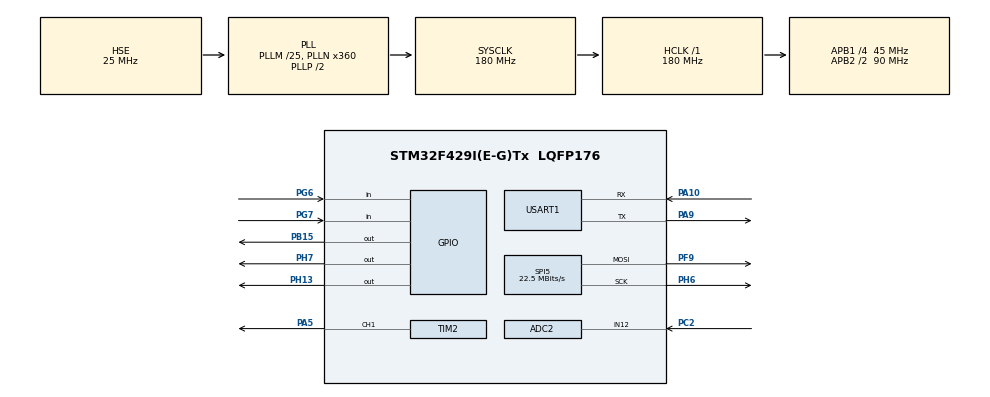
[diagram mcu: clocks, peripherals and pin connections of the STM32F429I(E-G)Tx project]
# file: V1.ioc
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ADC2.Channel-0\#ChannelRegularConversion=ADC_CHANNEL_12
ADC2.NbrOfConversionFlag=1
ADC2.Rank-0\#ChannelRegularConversion=1
ADC2.SamplingTime-0\#ChannelRegularConversion=ADC_SAMPLETIME_3CYCLES
Mcu.Family=STM32F4
Mcu.Name=STM32F429I(E-G)Tx
Mcu.Package=LQFP176
NVIC.PriorityGroup=NVIC_PRIORITYGROUP_4
NVIC.TIM2_IRQn=true\:0\:0\:false\:false\:true\:true\:true
NVIC.TIM3_IRQn=true\:0\:0\:false\:false\:true\:true\:true
NVIC.TIM4_IRQn=true\:0\:0\:false\:false\:true\:true\:true
NVIC.TIM6_DAC_IRQn=true\:0\:0\:false\:false\:true\:true\:true
NVIC.TIM7_IRQn=true\:0\:0\:false\:false\:true\:true\:true
NVIC.USART1_IRQn=true\:1\:0\:true\:false\:true\:true\:true
PA10.Mode=Asynchronous
PA10.Signal=USART1_RX
PA13.Mode=Serial_Wire
PA13.Signal=SYS_JTMS-SWDIO
PA14.Mode=Serial_Wire
PA14.Signal=SYS_JTCK-SWCLK
PA5.Signal=S_TIM2_CH1_ETR
PA9.Mode=Asynchronous
PA9.Signal=USART1_TX
PB15.Signal=GPIO_Output
PC14/OSC32_IN.Mode=LSE-External-Oscillator
PC14/OSC32_IN.Signal=RCC_OSC32_IN
PC15/OSC32_OUT.Mode=LSE-External-Oscillator
PC15/OSC32_OUT.Signal=RCC_OSC32_OUT
PC2.Signal=ADCx_IN12
PF9.GPIO_PuPd=GPIO_PULLUP
PF9.Mode=TX_Only_Simplex_Unidirect_Master
PF9.Signal=SPI5_MOSI
PG6.Signal=GPIO_Input
PG7.Signal=GPIO_Input
PH0/OSC_IN.Mode=HSE-External-Oscillator
PH0/OSC_IN.Signal=RCC_OSC_IN
PH1/OSC_OUT.Mode=HSE-External-Oscillator
PH1/OSC_OUT.Signal=RCC_OSC_OUT
PH13.GPIO_PuPd=GPIO_PULLUP
PH13.GPIO_Speed=GPIO_SPEED_FREQ_VERY_HIGH
PH13.Signal=GPIO_Output
PH6.GPIO_PuPd=GPIO_PULLUP
PH6.Mode=TX_Only_Simplex_Unidirect_Master
PH6.Signal=SPI5_SCK
PH7.GPIO_PuPd=GPIO_PULLUP
PH7.GPIO_Speed=GPIO_SPEED_FREQ_VERY_HIGH
PH7.PinState=GPIO_PIN_SET
PH7.Signal=GPIO_Output
ProjectManager.HeapSize=0x200
ProjectManager.StackSize=0x400
ProjectManager.TargetToolchain=MDK-ARM V5.27
RCC.48MHZClocksFreq_Value=90000000
RCC.AHBFreq_Value=180000000
RCC.APB1CLKDivider=RCC_HCLK_DIV4
RCC.APB1Freq_Value=45000000
RCC.APB1TimFreq_Value=90000000
RCC.APB2CLKDivider=RCC_HCLK_DIV2
RCC.APB2Freq_Value=90000000
RCC.APB2TimFreq_Value=180000000
RCC.CortexFreq_Value=180000000
RCC.HCLKFreq_Value=180000000
RCC.HSE_VALUE=25000000
RCC.HSI_VALUE=16000000
RCC.PLLM=25
RCC.PLLN=360
RCC.PLLSourceVirtual=RCC_PLLSOURCE_HSE
RCC.SYSCLKFreq_VALUE=180000000
RCC.SYSCLKSource=RCC_SYSCLKSOURCE_PLLCLK
RCC.VCOOutputFreq_Value=360000000
SH.ADCx_IN12.0=ADC2_IN12,IN12
SH.S_TIM2_CH1_ETR.0=TIM2_CH1,PWM Generation1 CH1
SPI5.BaudRatePrescaler=SPI_BAUDRATEPRESCALER_4
SPI5.CalculateBaudRate=22.5 MBits/s
SPI5.Direction=SPI_DIRECTION_2LINES
SPI5.Mode=SPI_MODE_MASTER
SPI5.VirtualType=VM_MASTER
TIM2.Channel-PWM\ Generation1\ CH1=TIM_CHANNEL_1
TIM2.Period=4999
TIM2.Prescaler=9000-1
TIM2.Pulse-PWM\ Generation1\ CH1=2499
TIM3.Period=29
TIM3.Prescaler=8999
TIM4.Period=9
TIM4.Prescaler=8999
TIM6.AutoReloadPreload=TIM_AUTORELOAD_PRELOAD_DISABLE
TIM6.Period=59
TIM6.Prescaler=8999
TIM7.Period=29
TIM7.Prescaler=8999
USART1.VirtualMode=VM_ASYNC
VP_TIM2_VS_ClockSourceINT.Mode=Internal
VP_TIM3_VS_ClockSourceINT.Mode=Internal
VP_TIM4_VS_ClockSourceINT.Mode=Internal
VP_TIM6_VS_ClockSourceINT.Mode=Enable_Timer
VP_TIM7_VS_ClockSourceINT.Mode=Enable_Timer
board=custom

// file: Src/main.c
/* USER CODE BEGIN Header */
/**
  ******************************************************************************
  * @file           : main.c
  * @brief          : Main program body
  ******************************************************************************
  * @attention
  *
  * <h2><center>&copy; Copyright (c) 2023 STMicroelectronics.
  * All rights reserved.</center></h2>
  *
  * This software component is licensed by ST under BSD 3-Clause license,
  * the "License"; You may not use this file except in compliance with the
  * License. You may obtain a copy of the License at:
  *                        opensource.org/licenses/BSD-3-Clause
  *
  ******************************************************************************
  */
/* USER CODE END Header */

#include "main.h"
#include "adc.h"
#include "spi.h"
#include "tim.h"
#include "usart.h"
#include "gpio.h"

/* USER CODE BEGIN Includes */
#include "lcd_init.h"
#include "lcd.h"
#include "pic.h"
#include "delay.h"
#include "math.h"
#include "Key.h"
#include <stdio.h>
/* USER CODE END Includes */

/* USER CODE BEGIN PTD */
uint16_t showmax;
uint16_t showmin=4095;
uint16_t data1[240];
uint16_t data2[240];
uint8_t high=200;
uint8_t low=40;
float_t ytran=1;
float_t xtran=1.0;
extern uint16_t dur;
char *strx,*extstrx,*Readystrx;
char RxBuffer[200],Rxcounter;
extern char RxBuffer[200],Rxcounter;
char *strstr(const char*,const char*);
uint8_t  Res;
uint8_t enable=0;
uint8_t signal=0;
uint8_t alarm=0;
uint8_t frsign=0;
/* USER CODE END PTD */

/* USER CODE BEGIN PM */
void HAL_UART_RxCpltCallback(UART_HandleTypeDef *huart)
{
	UNUSED(huart);
	if(huart->Instance==USART1 )
	{
		RxBuffer[Rxcounter++]=Res;
		HAL_Delay(200);
		HAL_UART_Receive_IT(&huart1,(uint8_t *)&Res,1);
	}
}
void write(void)
{
	RxBuffer[Rxcounter++]=Res;
	return;
}
/* USER CODE END PM */

/* USER CODE BEGIN PV */
void Clear_Buffer(void)
{
	uint8_t i;
	for(i=0;i<Rxcounter ;i++)
		RxBuffer [i]=0;
	Rxcounter =0;
}
/* USER CODE END PV */

void SystemClock_Config(void);

int main(void)
{

  /* MCU Configuration--------------------------------------------------------*/

  /* Reset of all peripherals, Initializes the Flash interface and the Systick. */
  HAL_Init();

  /* Configure the system clock */
  SystemClock_Config();

  /* Initialize all configured peripherals */
  MX_GPIO_Init();
  MX_ADC2_Init();
  MX_SPI5_Init();
  MX_TIM6_Init();
  MX_TIM2_Init();
  MX_TIM7_Init();
  MX_TIM3_Init();
  MX_TIM4_Init();
  MX_USART1_UART_Init();
  /* USER CODE BEGIN 2 */

	delay_init(180);
	LCD_Init ();
	LCD_Fill (0,0,LCD_W,LCD_H,WHITE);
	HAL_TIM_Base_Start_IT(&htim3);
	HAL_TIM_Base_Start_IT(&htim4);
HAL_TIM_Base_Start_IT(&htim6);
HAL_TIM_Base_Start_IT(&htim7);
HAL_TIM_PWM_Start(&htim2,TIM_CHANNEL_1);

//HAL_UART_Receive_IT(&huart1,&Res,1);

		printf("start");
		HAL_Delay(500);

		printf("ATI\r\n");
		HAL_Delay(1000);
	//	strx=strstr((const char*)RxBuffer,(const char*)"Fibocom");
 /*	while(strx==NULL)
		{
			Clear_Buffer();
			printf("fail");
			HAL_Delay(1000);
			printf("ATI\r\n");
		  HAL_Delay(1000);
			strx=strstr((const char*)RxBuffer,(const char*)"Fibocom");
		}*/
		Clear_Buffer();
		printf("success");
		HAL_Delay(500);

		printf("AT+MIPCALL?\r\n");
		HAL_Delay(500);
		/*strx=strstr((const char*)RxBuffer,(const char*)"+MIPCALL: 1");
		while(strx==NULL)
		{
			Clear_Buffer();
			printf("NO IP");
			HAL_Delay(1000);
			printf("AT+MIPCALL=1\r\n");
			HAL_Delay(1000);
			strx=strstr((const char*)RxBuffer,(const char*)"+MIPCALL: ");
		}*/
		Clear_Buffer();
		printf("GET IP");
		HAL_Delay(500);

		printf("AT+TCDEVINFOSET=1,\"69KWHNFFUV\",\"test1\",\"qx+oUYsrSWLERY7GuzcI4A==\"\r\n");
		HAL_Delay(500);
		/*strx=strstr((const char*)RxBuffer,(const char*)"+TCDEVINFOSET: OK");
		while(strx==NULL)
		{
			Clear_Buffer();
			printf("fail");
			HAL_Delay(1000);
		printf("AT+TCDEVINFOSET=1,\"69KWHNFFUV\",\"test1\",\"qx+oUYsrSWLERY7GuzcI4A==\"\r\n");
			HAL_Delay(1000);
			strx=strstr((const char*)RxBuffer,(const char*)"+TCDEVINFOSET: OK");
		}*/
		Clear_Buffer();
		printf("success");
		HAL_Delay(500);

		printf("AT+TCMQTTCONN=1,20000,240,1,0\r\n");
		HAL_Delay(500);
		/*strx=strstr((const char*)RxBuffer,(const char*)"+TCMQTTCONN: OK");
		while(strx==NULL)
		{
			Clear_Buffer();
			printf("fail");
			HAL_Delay(1000);
			printf("AT+TCMQTTCONN=1,20000,240,1,1\r\n");
			HAL_Delay(1000);
			strx=strstr((const char*)RxBuffer,(const char*)"+TCMQTTCONN: OK");
		}*/
		Clear_Buffer();
		printf("success");
		HAL_Delay(500);

		printf("AT+TCMQTTSUB=\"$thing/down/property/69KWHNFFUV/test1\",1\r\n");
		HAL_Delay(500);
		/*strx=strstr((const char*)RxBuffer,(const char*)"+TCMQTTSUB: OK");
		while(strx==NULL)
		{
			Clear_Buffer();
			printf("fail");
			HAL_Delay(1000);
			printf("AT+TCMQTTSUB=\"$thing/down/property/69KWHNFFUV/test1\",1\r\n");
			HAL_Delay(1000);
			strx=strstr((const char*)RxBuffer,(const char*)"+TCMQTTSUB: OK");
		}*/
		Clear_Buffer();
		printf("success");
		enable=1;
		HAL_Delay(500);
		printf("AT+GTTS=1,\"开始心电检监测\",1\r\n");
		HAL_Delay(2000);
		printf("AT+GTTS=0\r\n");
		HAL_Delay(500);
	printf("AT+TCMQTTPUB=\"$thing/up/property/69KWHNFFUV/test1\",1,\"{\\\"method\\\":\\\"report\\\",\\\"clientToken\\\":\\\"123\\\",\\\"params\\\":{\\\"lac\\\":%d}}\"\r\n",31);
		HAL_Delay(500);
			printf("AT+TCMQTTPUB=\"$thing/up/property/69KWHNFFUV/test1\",1,\"{\\\"method\\\":\\\"report\\\",\\\"clientToken\\\":\\\"123\\\",\\\"params\\\":{\\\"cid\\\":%d}}\"\r\n",17);
		HAL_Delay(500);
		while(enable)
		{
			frsign =(int)(60/(dur*12*1e-3));
			printf("AT+TCMQTTPUB=\"$thing/up/property/69KWHNFFUV/test1\",1,\"{\\\"method\\\":\\\"report\\\",\\\"clientToken\\\":\\\"123\\\",\\\"params\\\":{\\\"span\\\":%d}}\"\r\n",(int)(60/(dur*12*1e-3)));
		HAL_Delay(500);
			printf("AT+TCMQTTPUB=\"$thing/up/property/69KWHNFFUV/test1\",1,\"{\\\"method\\\":\\\"report\\\",\\\"clientToken\\\":\\\"123\\\",\\\"params\\\":{\\\"ytran\\\":%f}}\"\r\n",ytran);
		HAL_Delay(500);
			printf("AT+TCMQTTPUB=\"$thing/up/property/69KWHNFFUV/test1\",1,\"{\\\"method\\\":\\\"report\\\",\\\"clientToken\\\":\\\"123\\\",\\\"params\\\":{\\\"xtran\\\":%f}}\"\r\n",xtran);
		HAL_Delay(500);
			if((frsign>120||frsign<50)&&alarm==0)
			{
				alarm++;
				printf("AT+GTTS=1,\"心率异常已发送您的位置\",1\r\n");
		HAL_Delay(3000);
		printf("AT+GTTS=0\r\n");
		HAL_Delay(500);
			}

		/*HAL_Delay(50000000);
			//}
			if(strx)
			{
				Clear_Buffer();
				printf("GET NUMBER");
				HAL_Delay(500);
			}
		while(strx==NULL)
		{
			Clear_Buffer();
			printf("fail");
			HAL_Delay(1000);
			printf("AT+TCMQTTPUB=\"$thing/up/property/69KWHNFFUV/test1\",1,\"{\\\"method\\\":\\\"report\\\",\\\"clientToken\\\":\\\"123\\\",\\\"params\\\":{\\\"span\\\":%d}}\"\r\n",(int)(60/(dur*12*1e-3)));
			HAL_Delay(1000);
			strx=strstr((const char*)RxBuffer,(const char*)"success");
		}*/
		Clear_Buffer();
		printf("success");
		HAL_Delay(500);
	}
  /* USER CODE END 2 */

  /* Infinite loop */
  while (1)
  {

  }
}

void SystemClock_Config(void)
{
  RCC_OscInitTypeDef RCC_OscInitStruct = {0};
  RCC_ClkInitTypeDef RCC_ClkInitStruct = {0};

  /** Configure the main internal regulator output voltage
  */
  __HAL_RCC_PWR_CLK_ENABLE();
  __HAL_PWR_VOLTAGESCALING_CONFIG(PWR_REGULATOR_VOLTAGE_SCALE1);
  /** Initializes the CPU, AHB and APB busses clocks
  */
  RCC_OscInitStruct.OscillatorType = RCC_OSCILLATORTYPE_HSE;
  RCC_OscInitStruct.HSEState = RCC_HSE_ON;
  RCC_OscInitStruct.PLL.PLLState = RCC_PLL_ON;
  RCC_OscInitStruct.PLL.PLLSource = RCC_PLLSOURCE_HSE;
  RCC_OscInitStruct.PLL.PLLM = 25;
  RCC_OscInitStruct.PLL.PLLN = 360;
  RCC_OscInitStruct.PLL.PLLP = RCC_PLLP_DIV2;
  RCC_OscInitStruct.PLL.PLLQ = 4;
  if (HAL_RCC_OscConfig(&RCC_OscInitStruct) != HAL_OK)
  {
    Error_Handler();
  }
  /** Activate the Over-Drive mode
  */
  if (HAL_PWREx_EnableOverDrive() != HAL_OK)
  {
    Error_Handler();
  }
  /** Initializes the CPU, AHB and APB busses clocks
  */
  RCC_ClkInitStruct.ClockType = RCC_CLOCKTYPE_HCLK|RCC_CLOCKTYPE_SYSCLK
                              |RCC_CLOCKTYPE_PCLK1|RCC_CLOCKTYPE_PCLK2;
  RCC_ClkInitStruct.SYSCLKSource = RCC_SYSCLKSOURCE_PLLCLK;
  RCC_ClkInitStruct.AHBCLKDivider = RCC_SYSCLK_DIV1;
  RCC_ClkInitStruct.APB1CLKDivider = RCC_HCLK_DIV4;
  RCC_ClkInitStruct.APB2CLKDivider = RCC_HCLK_DIV2;

  if (HAL_RCC_ClockConfig(&RCC_ClkInitStruct, FLASH_LATENCY_5) != HAL_OK)
  {
    Error_Handler();
  }
}

void Error_Handler(void)
{
}

/************************ (C) COPYRIGHT STMicroelectronics *****END OF FILE****/
